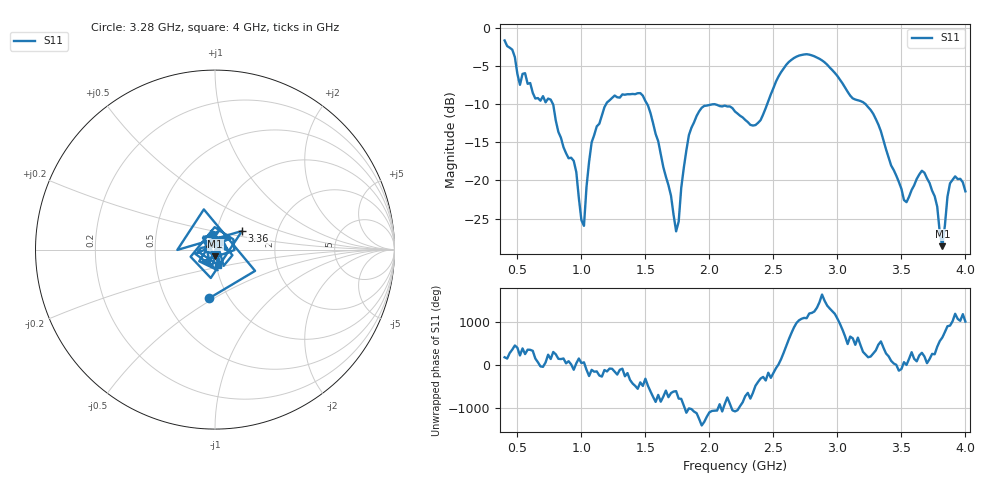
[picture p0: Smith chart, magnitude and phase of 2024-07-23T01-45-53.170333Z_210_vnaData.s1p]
!Created with skrf (http://scikit-rf.org).
# Hz S RI R 50.0
!freq ReS11 ImS11
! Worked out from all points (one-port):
!   181 points, 400 MHz to 4 GHz, reference 50 ohm
!   lowest |S11| = -28.6 dB at 3.82 GHz (marker M1), VSWR 1.08, Z = 50 - j3.71 ohm
!   |S11| at or under -10 dB: 778.3 MHz to 1.192 GHz (414.2 MHz wide, 42 % of centre); 1.514 GHz to 2.035 GHz (520.7 MHz wide, 29.3 % of centre); 3.221 GHz to end of sweep (the widest 3 of 4)
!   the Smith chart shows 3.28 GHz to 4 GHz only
!   S11 on the Smith chart (normalised r, x): 3.28 GHz: 0.81, -0.48; 3.36 GHz: 1.32, +0.28; 4 GHz: 1.02, -0.17
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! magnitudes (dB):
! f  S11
! 400 MHz  -1.6
! 520 MHz  -7.5
! 760 MHz  -9.4
! 860 MHz  -15.6
! 940 MHz  -17.4
! 1.02 GHz  -26.0
! 1.08 GHz  -15.0
! 1.2 GHz  -9.8
! 1.3 GHz  -9.1
! 1.52 GHz  -10.2
! 1.74 GHz  -26.7
! 1.76 GHz  -25.4
! 1.84 GHz  -14.0
! 1.9 GHz  -11.5
! 2.2 GHz  -11.0
! 2.38 GHz  -12.4
! 2.66 GHz  -3.9
! 2.88 GHz  -4.2
! 3.1 GHz  -8.9
! 3.28 GHz  -11.3
! 3.36 GHz  -14.7
! 3.52 GHz  -22.6
! 3.56 GHz  -22.1
! 3.68 GHz  -19.0
! 3.76 GHz  -22.1
! 3.82 GHz  -28.6
! 3.88 GHz  -20.4
! 4 GHz  -21.4
